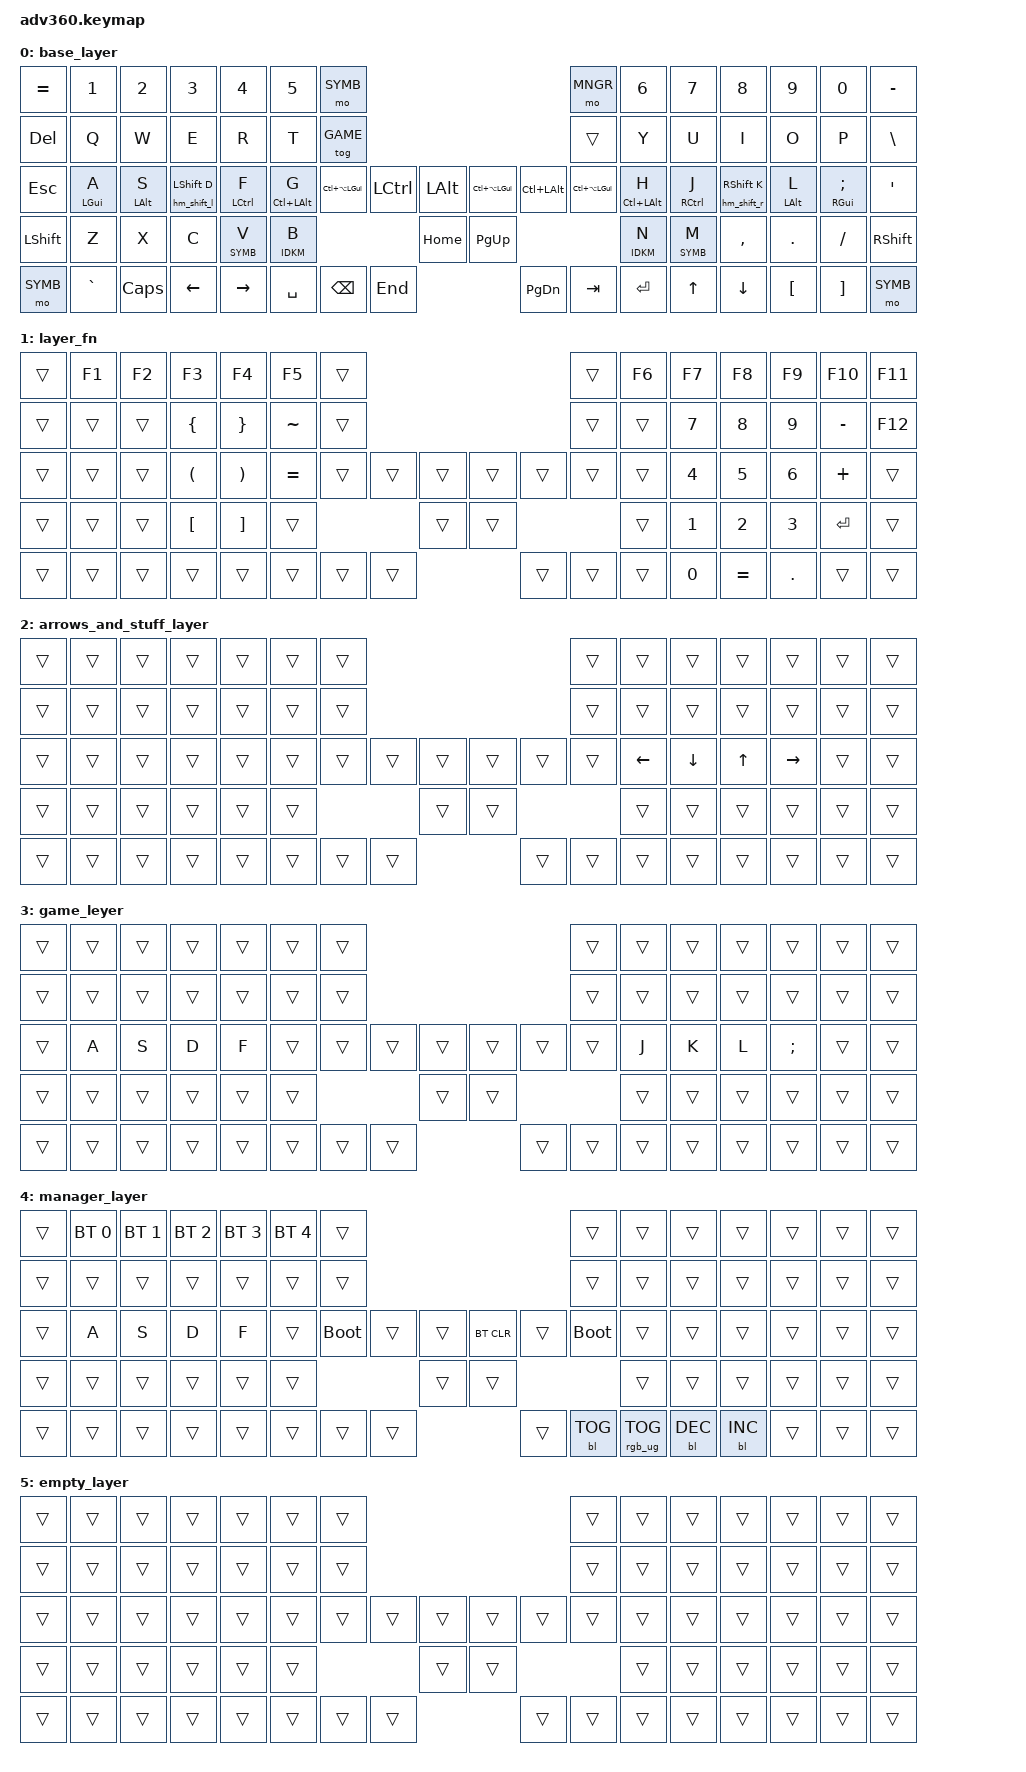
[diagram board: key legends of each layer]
#include <behaviors.dtsi>
#include <dt-bindings/zmk/keys.h>
#include <dt-bindings/zmk/bt.h>
#include <dt-bindings/zmk/rgb.h>
#include <dt-bindings/zmk/backlight.h>
#include "behaviors.dtsi"

#define ___ &trans
#define DFLT 0
#define SYMB 1
#define IDKM 2
#define GAME 3
#define MNGR 4

/ {

keymap {
        compatible = "zmk,keymap";

        base_layer {
            bindings = <
// ╭────────────────────┬────────────────────┬────────────────────┬────────────────────┬────────────────────┬────────────────────┬────────────────────╮                                                                                                                                  ╭────────────────────┬────────────────────┬────────────────────┬────────────────────┬────────────────────┬────────────────────┬────────────────────╮
    &kp EQUAL            &kp N1               &kp N2               &kp N3               &kp N4               &kp N5               &mo SYMB                                                                                                                                                &mo MNGR             &kp N6                &kp N7              &kp N8               &kp N9               &kp N0               &kp MINUS
// ├────────────────────┼────────────────────┼────────────────────┼────────────────────┼────────────────────┼────────────────────┼────────────────────┤                                                                                                                                  ├────────────────────┼────────────────────┼────────────────────┼────────────────────┼────────────────────┼────────────────────┼────────────────────┤
    &kp DEL              &kp Q                &kp W                 &kp E               &kp R                &kp T                &tog GAME                                                                                                                                               ___                  &kp Y                &kp U                &kp I                &kp O                &kp P                &kp BSLH
// ├────────────────────┼────────────────────┼────────────────────┼────────────────────┼────────────────────┼────────────────────┼────────────────────┤                      ╭────────────────────┬────────────────────╮ ╭────────────────────┬────────────────────╮                     ├────────────────────┼────────────────────┼────────────────────┼────────────────────┼────────────────────┼────────────────────┼────────────────────┤
    &kp ESC              &hm_l LGUI A         &hm_l LALT S         &hm_shift_l LSHFT D  &hm_l LCTRL F        &hm_l LC(LALT) G     &kp LC(LA(LGUI))                            &kp LCTRL            &kp LALT               &kp LC(LA(LGUI))     &kp LC(LALT)                               &kp LC(LA(LGUI))     &hm_r LC(LALT) H     &hm_r RCTRL J        &hm_shift_r RSHFT K  &hm_r LALT L         &hm_r RGUI SEMI      &kp SQT
// ├────────────────────┼────────────────────┼────────────────────┼────────────────────┼────────────────────┼────────────────────┴────────────────────╯ ╭────────────────────┼────────────────────┼────────────────────┤ ├────────────────────┼────────────────────┼────────────────────╮╰────────────────────┼────────────────────┼────────────────────┼────────────────────┼────────────────────┼────────────────────┼────────────────────┤
    &kp LSHFT            &kp Z                &kp X                &kp C                &lt_l SYMB V         &lt_l IDKM B                                                                          &kp HOME               &kp PG_UP                                                                            &lt_r IDKM N         &lt_r SYMB M         &kp COMMA            &kp DOT              &kp FSLH             &kp RSHFT
// ├────────────────────┼────────────────────┼────────────────────┼────────────────────┼────────────────────┼────────────────────╯                      │                    │                    ├────────────────────┤ ├────────────────────┤                    │                    │                     ╰────────────────────┼────────────────────┼────────────────────┼────────────────────┼────────────────────┼────────────────────┤
    &mo SYMB            &kp GRAVE             &kp CAPS              &kp LEFT             &kp RIGHT                                                       &kp SPACE            &kp BSPC             &kp END                &kp PG_DN            &kp TAB              &kp ENTER                                                       &kp UP               &kp DOWN             &kp LBKT             &kp RBKT             &mo SYMB      
// ╰────────────────────┴────────────────────┴────────────────────┴────────────────────┴────────────────────╯                                           ╰────────────────────┴────────────────────┴────────────────────╯ ╰────────────────────┴────────────────────┴────────────────────╯                                          ╰────────────────────┴────────────────────┴────────────────────┴────────────────────┴────────────────────╯
            >;
        };

        layer_fn {
            bindings = <
// ╭────────────────────┬────────────────────┬────────────────────┬────────────────────┬────────────────────┬────────────────────┬────────────────────╮                                                                                                                                 ╭────────────────────┬────────────────────┬────────────────────┬────────────────────┬────────────────────┬────────────────────┬────────────────────╮
    ___                  &kp F1               &kp F2               &kp F3               &kp F4               &kp F5               ___                                                                                                                                                    ___                  &kp F6               &kp F7               &kp F8               &kp F9               &kp F10              &kp F11  
// ├────────────────────┼────────────────────┼────────────────────┼────────────────────┼────────────────────┼────────────────────┼────────────────────┤                                                                                                                                 ├────────────────────┼────────────────────┼────────────────────┼────────────────────┼────────────────────┼────────────────────┼────────────────────┤
    ___                  ___                  ___                  &kp LBRC             &kp RBRC             &kp TILDE            ___                                                                                                                                                    ___                  ___                  &kp N7               &kp N8               &kp N9               &kp MINUS            &kp F12 
// ├────────────────────┼────────────────────┼────────────────────┼────────────────────┼────────────────────┼────────────────────┼────────────────────                      ╭────────────────────┬────────────────────╮ ╭────────────────────┬────────────────────╮                     ├────────────────────┼────────────────────┼────────────────────┼────────────────────┼────────────────────┼────────────────────┼────────────────────┤
    ___                  ___                  ___                  &kp LPAR             &kp RPAR             &kp EQUAL            ___                                        ___                  ___                    ___                  ___                                        ___                  ___                  &kp N4               &kp N5               &kp N6               &kp PLUS             ___    
// ├────────────────────┼────────────────────┼────────────────────┼────────────────────┼────────────────────┼────────────────────┴────────────────────╯╭────────────────────┼────────────────────┼────────────────────┤ ├────────────────────┼────────────────────┼────────────────────╮╰────────────────────┼────────────────────┼────────────────────┼────────────────────┼────────────────────┼────────────────────┼────────────────────┤
    ___                  ___                  ___                  &kp LBKT             &kp RBKT             ___                                                                                  ___                    ___                                                                                  ___                  &kp N1               &kp N2               &kp N3               &kp ENTER            ___    
// ├────────────────────┼────────────────────┼────────────────────┼────────────────────┼────────────────────┼────────────────────╯                     │                    │                    ├────────────────────┤ ├────────────────────┤                    │                    │                     ╰────────────────────┼────────────────────┼────────────────────┼────────────────────┼────────────────────┼────────────────────┤
    ___                  ___                  ___                  ___                  ___                                                             ___                  ___                  ___                    ___                  ___                  ___                                                             &kp N0               &kp EQUAL            &kp DOT              ___                  ___      
// ╰────────────────────┴────────────────────┴────────────────────┴────────────────────┴────────────────────╯                                          ╰────────────────────┴────────────────────┴────────────────────╯ ╰────────────────────┴────────────────────┴────────────────────╯                                          ╰────────────────────┴────────────────────┴────────────────────┴────────────────────┴────────────────────╯
            >;
        };

// wtf else goes on this layer? i only need arrows for a couple things and the thumb arrows are goofy ahh
        arrows_and_stuff_layer {
            bindings = <
// ╭────────────────────┬────────────────────┬────────────────────┬────────────────────┬────────────────────┬────────────────────┬────────────────────╮                                                                                                                                 ╭────────────────────┬────────────────────┬────────────────────┬────────────────────┬────────────────────┬────────────────────┬────────────────────╮
    ___                  ___                  ___                  ___                  ___                  ___                  ___                                                                                                                                                    ___                  ___                  ___                  ___                  ___                  ___                  ___      
// ├────────────────────┼────────────────────┼────────────────────┼────────────────────┼────────────────────┼────────────────────┼────────────────────┤                                                                                                                                 ├────────────────────┼────────────────────┼────────────────────┼────────────────────┼────────────────────┼────────────────────┼────────────────────┤
    ___                  ___                  ___                  ___                  ___                  ___                  ___                                                                                                                                                    ___                  ___                  ___                  ___                  ___                  ___                  ___     
// ├────────────────────┼────────────────────┼────────────────────┼────────────────────┼────────────────────┼────────────────────┼────────────────────                      ╭────────────────────┬────────────────────╮ ╭────────────────────┬────────────────────╮                     ├────────────────────┼────────────────────┼────────────────────┼────────────────────┼────────────────────┼────────────────────┼────────────────────┤
    ___                  ___                  ___                  ___                  ___                  ___                  ___                                        ___                  ___                    ___                  ___                                        ___                  &kp LEFT             &kp DOWN             &kp UP               &kp RIGHT            ___                  ___    
// ├────────────────────┼────────────────────┼────────────────────┼────────────────────┼────────────────────┼────────────────────┴────────────────────╯╭────────────────────┼────────────────────┼────────────────────┤ ├────────────────────┼────────────────────┼────────────────────╮╰────────────────────┼────────────────────┼────────────────────┼────────────────────┼────────────────────┼────────────────────┼────────────────────┤
    ___                  ___                  ___                  ___                  ___                  ___                                                                                  ___                    ___                                                                                  ___                  ___                  ___                  ___                  ___                  ___        
// ├────────────────────┼────────────────────┼────────────────────┼────────────────────┼────────────────────┼────────────────────╯                     │                    │                    ├────────────────────┤ ├────────────────────┤                    │                    │                     ╰────────────────────┼────────────────────┼────────────────────┼────────────────────┼────────────────────┼────────────────────┤
    ___                  ___                  ___                  ___                  ___                                                             ___                  ___                  ___                    ___                  ___                  ___                                                             ___                  ___                  ___                  ___                  ___      
// ╰────────────────────┴────────────────────┴────────────────────┴────────────────────┴────────────────────╯                                          ╰────────────────────┴────────────────────┴────────────────────╯ ╰────────────────────┴────────────────────┴────────────────────╯                                          ╰────────────────────┴────────────────────┴────────────────────┴────────────────────┴────────────────────╯
            >;
        };

// game layer just gets rid of home row mods because theyre cancer for playing games
        game_leyer {
            bindings = <
// ╭────────────────────┬────────────────────┬────────────────────┬────────────────────┬────────────────────┬────────────────────┬────────────────────╮                                                                                                                                 ╭────────────────────┬────────────────────┬────────────────────┬────────────────────┬────────────────────┬────────────────────┬────────────────────╮
    ___                  ___                  ___                  ___                  ___                  ___                  ___                                                                                                                                                    ___                  ___                  ___                  ___                  ___                  ___                  ___      
// ├────────────────────┼────────────────────┼────────────────────┼────────────────────┼────────────────────┼────────────────────┼────────────────────┤                                                                                                                                 ├────────────────────┼────────────────────┼────────────────────┼────────────────────┼────────────────────┼────────────────────┼────────────────────┤
    ___                  ___                  ___                  ___                  ___                  ___                  ___                                                                                                                                                    ___                  ___                  ___                  ___                  ___                  ___                  ___     
// ├────────────────────┼────────────────────┼────────────────────┼────────────────────┼────────────────────┼────────────────────┼────────────────────                      ╭────────────────────┬────────────────────╮ ╭────────────────────┬────────────────────╮                     ├────────────────────┼────────────────────┼────────────────────┼────────────────────┼────────────────────┼────────────────────┼────────────────────┤
    ___                  &kp A                &kp S                &kp D                &kp F                ___                  ___                                        ___                  ___                    ___                  ___                                        ___                  &kp J                &kp K                &kp L                &kp SEMI             ___                  ___    
// ├────────────────────┼────────────────────┼────────────────────┼────────────────────┼────────────────────┼────────────────────┴────────────────────╯╭────────────────────┼────────────────────┼────────────────────┤ ├────────────────────┼────────────────────┼────────────────────╮╰────────────────────┼────────────────────┼────────────────────┼────────────────────┼────────────────────┼────────────────────┼────────────────────┤
    ___                  ___                  ___                  ___                  ___                  ___                                                                                  ___                    ___                                                                                  ___                  ___                  ___                  ___                  ___                  ___        
// ├────────────────────┼────────────────────┼────────────────────┼────────────────────┼────────────────────┼────────────────────╯                     │                    │                    ├────────────────────┤ ├────────────────────┤                    │                    │                     ╰────────────────────┼────────────────────┼────────────────────┼────────────────────┼────────────────────┼────────────────────┤
    ___                  ___                  ___                  ___                  ___                                                             ___                  ___                  ___                    ___                  ___                  ___                                                             ___                  ___                  ___                  ___                  ___      
// ╰────────────────────┴────────────────────┴────────────────────┴────────────────────┴────────────────────╯                                          ╰────────────────────┴────────────────────┴────────────────────╯ ╰────────────────────┴────────────────────┴────────────────────╯                                          ╰────────────────────┴────────────────────┴────────────────────┴────────────────────┴────────────────────╯
            >;
        };

// meta layer for keyboard management
        manager_layer {
            bindings = <
// ╭────────────────────┬────────────────────┬────────────────────┬────────────────────┬────────────────────┬────────────────────┬────────────────────╮                                                                                                                                 ╭────────────────────┬────────────────────┬────────────────────┬────────────────────┬────────────────────┬────────────────────┬────────────────────╮
    ___                  &bt BT_SEL 0         &bt BT_SEL 1         &bt BT_SEL 2         &bt BT_SEL 3         &bt BT_SEL 4         ___                                                                                                                                                    ___                  ___                  ___                  ___                  ___                  ___                  ___      
// ├────────────────────┼────────────────────┼────────────────────┼────────────────────┼────────────────────┼────────────────────┼────────────────────┤                                                                                                                                 ├────────────────────┼────────────────────┼────────────────────┼────────────────────┼────────────────────┼────────────────────┼────────────────────┤
    ___                  ___                  ___                  ___                  ___                  ___                  ___                                                                                                                                                    ___                  ___                  ___                  ___                  ___                  ___                  ___     
// ├────────────────────┼────────────────────┼────────────────────┼────────────────────┼────────────────────┼────────────────────┼────────────────────                      ╭────────────────────┬────────────────────╮ ╭────────────────────┬────────────────────╮                     ├────────────────────┼────────────────────┼────────────────────┼────────────────────┼────────────────────┼────────────────────┼────────────────────┤
    ___                  &kp A                &kp S                &kp D                &kp F                ___                  &bootloader                                ___                  ___                    &bt BT_CLR           ___                                        &bootloader          ___                  ___                  ___                  ___                  ___                  ___    
// ├────────────────────┼────────────────────┼────────────────────┼────────────────────┼────────────────────┼────────────────────┴────────────────────╯╭────────────────────┼────────────────────┼────────────────────┤ ├────────────────────┼────────────────────┼────────────────────╮╰────────────────────┼────────────────────┼────────────────────┼────────────────────┼────────────────────┼────────────────────┼────────────────────┤
    ___                  ___                  ___                  ___                  ___                  ___                                                                                  ___                    ___                                                                                  ___                  ___                  ___                  ___                  ___                  ___        
// ├────────────────────┼────────────────────┼────────────────────┼────────────────────┼────────────────────┼────────────────────╯                     │                    │                    ├────────────────────┤ ├────────────────────┤                    │                    │                     ╰────────────────────┼────────────────────┼────────────────────┼────────────────────┼────────────────────┼────────────────────┤
    ___                  ___                  ___                  ___                  ___                                                             ___                  ___                  ___                    ___                  &bl BL_TOG           &rgb_ug RGB_TOG                                                 &bl BL_DEC           &bl BL_INC           ___                  ___                  ___      
// ╰────────────────────┴────────────────────┴────────────────────┴────────────────────┴────────────────────╯                                          ╰────────────────────┴────────────────────┴────────────────────╯ ╰────────────────────┴────────────────────┴────────────────────╯                                          ╰────────────────────┴────────────────────┴────────────────────┴────────────────────┴────────────────────╯
            >;
        };


// empty layer for easy copy pasta for new layer
        empty_layer {
            bindings = <
// ╭────────────────────┬────────────────────┬────────────────────┬────────────────────┬────────────────────┬────────────────────┬────────────────────╮                                                                                                                                 ╭────────────────────┬────────────────────┬────────────────────┬────────────────────┬────────────────────┬────────────────────┬────────────────────╮
    ___                  ___                  ___                  ___                  ___                  ___                  ___                                                                                                                                                    ___                  ___                  ___                  ___                  ___                  ___                  ___      
// ├────────────────────┼────────────────────┼────────────────────┼────────────────────┼────────────────────┼────────────────────┼────────────────────┤                                                                                                                                 ├────────────────────┼────────────────────┼────────────────────┼────────────────────┼────────────────────┼────────────────────┼────────────────────┤
    ___                  ___                  ___                  ___                  ___                  ___                  ___                                                                                                                                                    ___                  ___                  ___                  ___                  ___                  ___                  ___     
// ├────────────────────┼────────────────────┼────────────────────┼────────────────────┼────────────────────┼────────────────────┼────────────────────                      ╭────────────────────┬────────────────────╮ ╭────────────────────┬────────────────────╮                     ├────────────────────┼────────────────────┼────────────────────┼────────────────────┼────────────────────┼────────────────────┼────────────────────┤
    ___                  ___                  ___                  ___                  ___                  ___                  ___                                        ___                  ___                    ___                  ___                                        ___                  ___                  ___                  ___                  ___                  ___                  ___    
// ├────────────────────┼────────────────────┼────────────────────┼────────────────────┼────────────────────┼────────────────────┴────────────────────╯╭────────────────────┼────────────────────┼────────────────────┤ ├────────────────────┼────────────────────┼────────────────────╮╰────────────────────┼────────────────────┼────────────────────┼────────────────────┼────────────────────┼────────────────────┼────────────────────┤
    ___                  ___                  ___                  ___                  ___                  ___                                                                                  ___                    ___                                                                                  ___                  ___                  ___                  ___                  ___                  ___        
// ├────────────────────┼────────────────────┼────────────────────┼────────────────────┼────────────────────┼────────────────────╯                     │                    │                    ├────────────────────┤ ├────────────────────┤                    │                    │                     ╰────────────────────┼────────────────────┼────────────────────┼────────────────────┼────────────────────┼────────────────────┤
    ___                  ___                  ___                  ___                  ___                                                             ___                  ___                  ___                    ___                  ___                  ___                                                             ___                  ___                  ___                  ___                  ___      
// ╰────────────────────┴────────────────────┴────────────────────┴────────────────────┴────────────────────╯                                          ╰────────────────────┴────────────────────┴────────────────────╯ ╰────────────────────┴────────────────────┴────────────────────╯                                          ╰────────────────────┴────────────────────┴────────────────────┴────────────────────┴────────────────────╯
            >;
        };
    };
};
